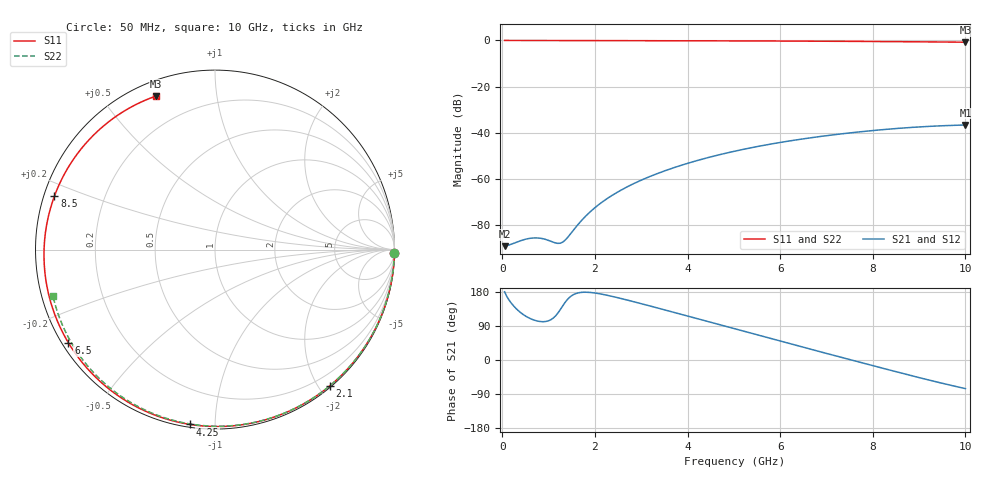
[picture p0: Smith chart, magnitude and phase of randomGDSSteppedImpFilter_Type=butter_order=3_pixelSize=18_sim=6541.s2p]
! freq	dB(S11)	phase(S11)	dB(S12)	phase(S12)
!  dB(S21)	phase(S21)	dB(S22)	phase(S22)
!S-par simulation data
#  GHz  S  DB  R 50
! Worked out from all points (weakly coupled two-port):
!   200 points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, 50 MHz to 10 GHz, reference 50 ohm
!   highest |S21| = -36.58 dB at 10 GHz (marker M1); lowest = -89.0 dB at 50 MHz (marker M2)
!   lowest |S11| = -0.8 dB at 10 GHz (marker M3), VSWR 22.96, Z = 3.2 + j34.1 ohm
!   |S11| at or under -10 dB: nowhere
!   |S22| runs from -0.5 to 0.0 dB; largest |S21 - S12| = 0
!   S11 on the Smith chart (normalised r, x): 50 MHz: 0, -94; 2.1 GHz: 0.02, -2.14; 4.25 GHz: 0.01, -0.87; 6.5 GHz: 0.02, -0.29; 8.5 GHz: 0.03, +0.16; 10 GHz: 0.06, +0.68
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0.05  -0.00 -1.2  -89.01 180.0  -89.01 180.0  -0.00 -1.0
0.8  -0.02 -19.4  -85.52 101.8  -85.52 101.8  -0.02 -15.2
1.6  -0.05 -38.3  -80.49 175.8  -80.49 175.8  -0.04 -30.1
1.75  -0.05 -41.9  -77.05 178.9  -77.05 178.9  -0.04 -32.8
2.1  -0.06 -50.0  -70.77 174.8  -70.77 174.8  -0.05 -39.2
2.35  -0.07 -55.7  -67.30 168.5  -67.30 168.5  -0.06 -43.7
2.65  -0.08 -62.6  -63.83 159.7  -63.83 159.7  -0.06 -49.0
3  -0.09 -70.5  -60.45 148.7  -60.45 148.7  -0.07 -55.2
3.4  -0.11 -79.4  -57.20 135.7  -57.20 135.7  -0.08 -62.1
4.25  -0.14 -98.1  -51.72 107.8  -51.72 107.8  -0.11 -76.5
5.05  -0.18 -115.4  -47.77 81.3  -47.77 81.3  -0.14 -89.5
5.75  -0.22 -130.7  -45.00 58.2  -45.00 58.2  -0.17 -100.5
6.5  -0.28 -147.5  -42.57 33.6  -42.57 33.6  -0.21 -111.9
6.7  -0.30 -152.1  -42.00 27.1  -42.00 27.1  -0.22 -115.0
7.55  -0.39 -172.7  -39.90 -0.4  -39.90 -0.4  -0.29 -127.6
7.95  -0.44 177.0  -39.07 -13.3  -39.07 -13.3  -0.32 -133.5
8.35  -0.49 166.0  -38.35 -26.0  -38.35 -26.0  -0.36 -139.4
8.5  -0.51 161.6  -38.11 -30.8  -38.11 -30.8  -0.37 -141.7
8.9  -0.57 149.6  -37.54 -43.3  -37.54 -43.3  -0.41 -147.6
9.25  -0.62 138.2  -37.14 -54.0  -37.14 -54.0  -0.45 -152.8
9.6  -0.68 126.1  -36.83 -64.3  -36.83 -64.3  -0.50 -158.0
10  -0.76 111.2  -36.58 -75.5  -36.58 -75.5  -0.55 -164.1
